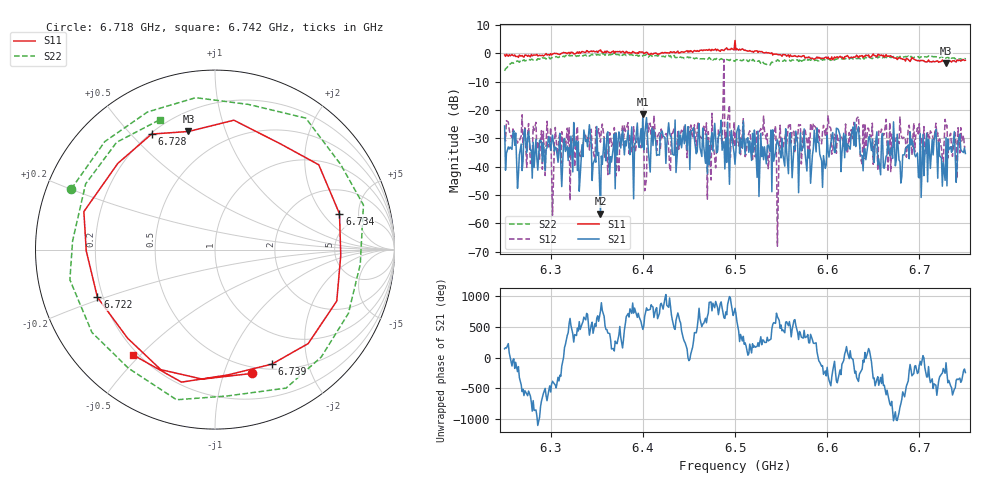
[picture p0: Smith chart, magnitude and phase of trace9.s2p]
# Hz S RI R 50
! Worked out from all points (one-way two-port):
!   401 points, 6.25 GHz to 6.75 GHz, reference 50 ohm
!   highest |S21| = -21.46 dB at 6.4 GHz (marker M1); lowest = -56.6 dB at 6.354 GHz (marker M2)
!   lowest |S11| = -3.4 dB at 6.729 GHz (marker M3), VSWR 5.14, Z = 15.6 + j37.6 ohm
!   |S11| at or under -10 dB: nowhere
!   |S22| runs from -6.2 to 0.0 dB; largest |S21 - S12| = 0.75
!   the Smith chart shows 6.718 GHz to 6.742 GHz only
!   S11 on the Smith chart (normalised r, x): 6.718 GHz: 0.44, -1.25; 6.722 GHz: 0.18, -0.19; 6.728 GHz: 0.21, +0.57; 6.734 GHz: 3.58, +2.99; 6.739 GHz: 0.56, -1.46; 6.742 GHz: 0.18, -0.47
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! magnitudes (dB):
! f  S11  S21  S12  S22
! 6.25 GHz  -0.6  -25.7  -29.5  -6.2
! 6.266 GHz  -0.6  -35.8  -30.8  -3.2
! 6.274 GHz  -0.7  -35.1  -40.3  -2.5
! 6.334 GHz  0.6  -32.3  -33.2  -0.6
! 6.34 GHz  0.8  -33.0  -29.6  -0.7
! 6.354 GHz  1.2  -56.6  -31.3  -0.7
! 6.4 GHz  0.4  -21.5  -32.1  -0.9
! 6.418 GHz  -0.1  -36.0  -28.0  -0.6
! 6.5 GHz  4.5  -39.1  -33.1  -2.8
! 6.53 GHz  0.3  -33.0  -28.9  -2.9
! 6.548 GHz  -0.5  -33.4  -30.8  -2.7
! 6.558 GHz  -0.6  -42.5  -25.4  -2.4
! 6.584 GHz  -1.7  -36.0  -27.4  -2.1
! 6.668 GHz  -1.0  -36.2  -24.4  -1.3
! 6.718 GHz  -2.8  -26.9  -24.7  -1.2
! 6.722 GHz  -3.0  -36.2  -30.2  -1.6
! 6.728 GHz  -2.7  -44.8  -23.3  -1.8
! 6.729 GHz  -3.4  -29.7  -25.5  -1.7
! 6.734 GHz  -2.8  -33.0  -28.3  -1.3
! 6.739 GHz  -2.9  -36.2  -28.1  -2.0
! 6.742 GHz  -2.6  -31.9  -26.3  -2.1
! 6.75 GHz  -2.5  -35.4  -33.2  -1.7
